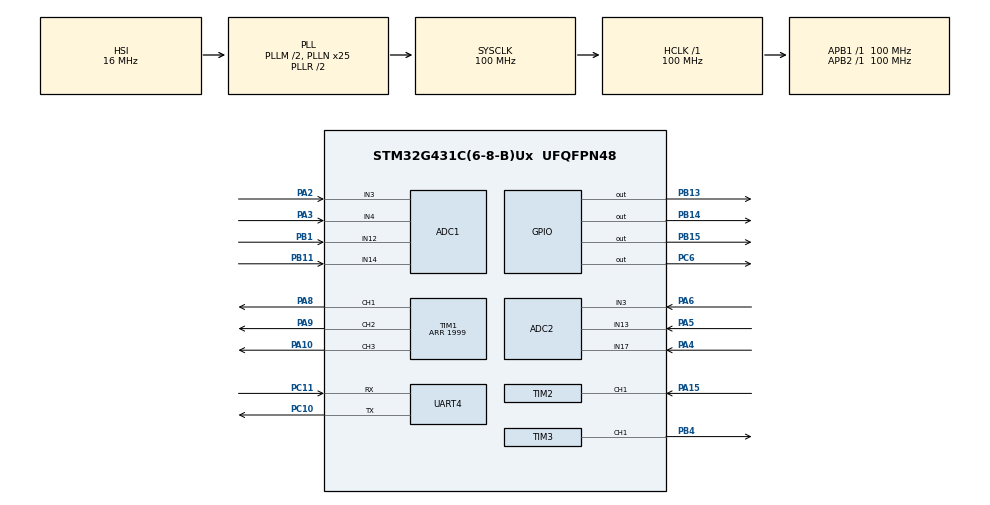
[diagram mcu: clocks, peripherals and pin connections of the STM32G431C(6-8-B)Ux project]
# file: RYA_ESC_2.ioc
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ADC1.Channel-0\#ChannelRegularConversion=ADC_CHANNEL_12
ADC1.Channel-1\#ChannelRegularConversion=ADC_CHANNEL_14
ADC1.Channel-2\#ChannelRegularConversion=ADC_CHANNEL_3
ADC1.Channel-3\#ChannelRegularConversion=ADC_CHANNEL_4
ADC1.ContinuousConvMode=ENABLE
ADC1.DMAContinuousRequests=ENABLE
ADC1.EOCSelection=ADC_EOC_SEQ_CONV
ADC1.NbrOfConversion=4
ADC1.NbrOfConversionFlag=1
ADC1.OffsetNumber-0\#ChannelRegularConversion=ADC_OFFSET_NONE
ADC1.OffsetNumber-1\#ChannelRegularConversion=ADC_OFFSET_NONE
ADC1.OffsetNumber-2\#ChannelRegularConversion=ADC_OFFSET_NONE
ADC1.OffsetNumber-3\#ChannelRegularConversion=ADC_OFFSET_NONE
ADC1.Rank-0\#ChannelRegularConversion=1
ADC1.Rank-1\#ChannelRegularConversion=2
ADC1.Rank-2\#ChannelRegularConversion=3
ADC1.Rank-3\#ChannelRegularConversion=4
ADC1.SamplingTime-0\#ChannelRegularConversion=ADC_SAMPLETIME_47CYCLES_5
ADC1.SamplingTime-1\#ChannelRegularConversion=ADC_SAMPLETIME_47CYCLES_5
ADC1.SamplingTime-2\#ChannelRegularConversion=ADC_SAMPLETIME_47CYCLES_5
ADC1.SamplingTime-3\#ChannelRegularConversion=ADC_SAMPLETIME_47CYCLES_5
ADC1.master=1
ADC2.ContinuousConvMode=ENABLE
ADC2.EOCSelection=ADC_EOC_SEQ_CONV
ADC2.EnableInjectedConversion=ENABLE
ADC2.EnableRegularConversion=DISABLE
ADC2.ExternalTrigInjecConv=ADC_EXTERNALTRIGINJEC_T8_TRGO
ADC2.InjNumberOfConversion=3
ADC2.InjectedChannel-1\#ChannelInjectedConversion=ADC_CHANNEL_3
ADC2.InjectedChannel-2\#ChannelInjectedConversion=ADC_CHANNEL_13
ADC2.InjectedChannel-3\#ChannelInjectedConversion=ADC_CHANNEL_17
ADC2.InjectedConvMode=Discontinuous
ADC2.InjectedOffsetNumber-1\#ChannelInjectedConversion=ADC_OFFSET_NONE
ADC2.InjectedOffsetNumber-2\#ChannelInjectedConversion=ADC_OFFSET_NONE
ADC2.InjectedOffsetNumber-3\#ChannelInjectedConversion=ADC_OFFSET_NONE
ADC2.InjectedRank-1\#ChannelInjectedConversion=1
ADC2.InjectedRank-2\#ChannelInjectedConversion=2
ADC2.InjectedRank-3\#ChannelInjectedConversion=3
ADC2.InjectedSamplingTime-1\#ChannelInjectedConversion=ADC_SAMPLETIME_2CYCLES_5
ADC2.InjectedSamplingTime-2\#ChannelInjectedConversion=ADC_SAMPLETIME_2CYCLES_5
ADC2.InjectedSamplingTime-3\#ChannelInjectedConversion=ADC_SAMPLETIME_2CYCLES_5
ADC2.Rank1_Channel=ADC_CHANNEL_3
ADC2.Rank2_Channel=ADC_CHANNEL_13
ADC2.Rank3_Channel=ADC_CHANNEL_17
Dma.ADC1.0.Direction=DMA_PERIPH_TO_MEMORY
Dma.ADC1.0.EventEnable=DISABLE
Dma.ADC1.0.Instance=DMA1_Channel1
Dma.ADC1.0.MemDataAlignment=DMA_MDATAALIGN_HALFWORD
Dma.ADC1.0.MemInc=DMA_MINC_ENABLE
Dma.ADC1.0.Mode=DMA_CIRCULAR
Dma.ADC1.0.PeriphDataAlignment=DMA_PDATAALIGN_HALFWORD
Dma.ADC1.0.PeriphInc=DMA_PINC_DISABLE
Dma.ADC1.0.Polarity=HAL_DMAMUX_REQ_GEN_RISING
Dma.ADC1.0.Priority=DMA_PRIORITY_HIGH
Dma.ADC1.0.RequestNumber=1
Dma.ADC1.0.SignalID=NONE
Dma.ADC1.0.SyncEnable=DISABLE
Dma.ADC1.0.SyncPolarity=HAL_DMAMUX_SYNC_NO_EVENT
Dma.ADC1.0.SyncRequestNumber=1
Dma.ADC1.0.SyncSignalID=NONE
Dma.Request0=ADC1
Mcu.Family=STM32G4
Mcu.Name=STM32G431C(6-8-B)Ux
Mcu.Package=UFQFPN48
NVIC.ADC1_2_IRQn=true\:0\:0\:false\:false\:true\:true\:true\:true
NVIC.DMA1_Channel1_IRQn=true\:0\:0\:false\:false\:true\:false\:true\:true
NVIC.PriorityGroup=NVIC_PRIORITYGROUP_4
NVIC.TIM2_IRQn=true\:0\:0\:false\:false\:true\:true\:true\:true
NVIC.TIM7_IRQn=true\:0\:0\:false\:false\:true\:true\:true\:true
NVIC.UART4_IRQn=true\:0\:0\:false\:false\:true\:true\:true\:true
PA10.Signal=S_TIM1_CH3
PA13.Mode=Trace_Asynchronous_SW
PA13.Signal=SYS_JTMS-SWDIO
PA14.Mode=Trace_Asynchronous_SW
PA14.Signal=SYS_JTCK-SWCLK
PA15.Signal=S_TIM2_CH1
PA2.Mode=IN3-Single-Ended
PA2.Signal=ADC1_IN3
PA3.Mode=IN4-Single-Ended
PA3.Signal=ADC1_IN4
PA4.Mode=IN17-Single-Ended
PA4.Signal=ADC2_IN17
PA5.Mode=IN13-Single-Ended
PA5.Signal=ADC2_IN13
PA6.Mode=IN3-Single-Ended
PA6.Signal=ADC2_IN3
PA8.Signal=S_TIM1_CH1
PA9.Signal=S_TIM1_CH2
PB1.Mode=IN12-Single-Ended
PB1.Signal=ADC1_IN12
PB11.Mode=IN14-Single-Ended
PB11.Signal=ADC1_IN14
PB13.Signal=GPIO_Output
PB14.Signal=GPIO_Output
PB15.Signal=GPIO_Output
PB3.Mode=Trace_Asynchronous_SW
PB3.Signal=SYS_JTDO-SWO
PB4.Signal=S_TIM3_CH1
PC10.Mode=Asynchronous
PC10.Signal=UART4_TX
PC11.Mode=Asynchronous
PC11.Signal=UART4_RX
PC6.Signal=GPIO_Output
PF0-OSC_IN.Mode=HSE-External-Oscillator
PF0-OSC_IN.Signal=RCC_OSC_IN
PF1-OSC_OUT.Mode=HSE-External-Oscillator
PF1-OSC_OUT.Signal=RCC_OSC_OUT
ProjectManager.HeapSize=0x200
ProjectManager.StackSize=0x400
ProjectManager.TargetToolchain=STM32CubeIDE
RCC.ADC12Freq_Value=100000000
RCC.AHBFreq_Value=100000000
RCC.APB1Freq_Value=100000000
RCC.APB1TimFreq_Value=100000000
RCC.APB2Freq_Value=100000000
RCC.APB2TimFreq_Value=100000000
RCC.CortexFreq_Value=100000000
RCC.EXTERNAL_CLOCK_VALUE=12288000
RCC.HCLKFreq_Value=100000000
RCC.HSE_VALUE=8000000
RCC.HSI48_VALUE=48000000
RCC.HSI_VALUE=16000000
RCC.LSE_VALUE=32768
RCC.PLLM=RCC_PLLM_DIV2
RCC.PLLN=25
RCC.SYSCLKFreq_VALUE=100000000
RCC.SYSCLKSource=RCC_SYSCLKSOURCE_PLLCLK
RCC.USBFreq_Value=100000000
RCC.VCOOutputFreq_Value=200000000
SH.S_TIM1_CH1.0=TIM1_CH1,PWM Generation1 CH1
SH.S_TIM1_CH2.0=TIM1_CH2,PWM Generation2 CH2
SH.S_TIM1_CH3.0=TIM1_CH3,PWM Generation3 CH3
SH.S_TIM2_CH1.0=TIM2_CH1,Input_Capture1_from_TI1
SH.S_TIM3_CH1.0=TIM3_CH1,PWM Generation1 CH1
TIM1.AutoReloadPreload=TIM_AUTORELOAD_PRELOAD_ENABLE
TIM1.Channel-PWM\ Generation1\ CH1=TIM_CHANNEL_1
TIM1.Channel-PWM\ Generation2\ CH2=TIM_CHANNEL_2
TIM1.Channel-PWM\ Generation3\ CH3=TIM_CHANNEL_3
TIM1.CounterMode=TIM_COUNTERMODE_CENTERALIGNED2
TIM1.PeriodNoDither=1999
TIM1.TIM_MasterOutputTrigger=TIM_TRGO_UPDATE
TIM1.TIM_MasterSlaveMode=TIM_MASTERSLAVEMODE_ENABLE
TIM2.Channel-Input_Capture1_from_TI1=TIM_CHANNEL_1
TIM2.ICPolarity_CH1=TIM_INPUTCHANNELPOLARITY_BOTHEDGE
TIM2.Prescaler=89
TIM3.AutoReloadPreload=TIM_AUTORELOAD_PRELOAD_ENABLE
TIM3.Channel-PWM\ Generation1\ CH1=TIM_CHANNEL_1
TIM3.PeriodNoDither=999
TIM3.Prescaler=99
TIM7.AutoReloadPreload=TIM_AUTORELOAD_PRELOAD_DISABLE
TIM7.PeriodNoDither=999
TIM7.Prescaler=99
TIM8.AutoReloadPreload=TIM_AUTORELOAD_PRELOAD_ENABLE
TIM8.CounterMode=TIM_COUNTERMODE_CENTERALIGNED2
TIM8.PeriodNoDither=1999
TIM8.TIM_MasterOutputTrigger=TIM_TRGO_UPDATE
TIM8.TIM_MasterSlaveMode=TIM_MASTERSLAVEMODE_ENABLE
VP_SYS_VS_DBSignals.Mode=DisableDeadBatterySignals
VP_TIM1_VS_ClockSourceINT.Mode=Internal
VP_TIM2_VS_ClockSourceINT.Mode=Internal
VP_TIM3_VS_ClockSourceINT.Mode=Internal
VP_TIM7_VS_ClockSourceINT.Mode=Enable_Timer
VP_TIM8_VS_ClockSourceINT.Mode=Internal
VP_TIM8_VS_ClockSourceITR.Mode=TriggerSource_ITR0
VP_TIM8_VS_ControllerModeTrigger.Mode=Trigger Mode
board=custom

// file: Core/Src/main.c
/* USER CODE BEGIN Header */
/**
  ******************************************************************************
  * @file           : main.c
  * @brief          : Main program body
  ******************************************************************************
  * @attention
  *
  * Copyright (c) 2025 STMicroelectronics.
  * All rights reserved.
  *
  * This software is licensed under terms that can be found in the LICENSE file
  * in the root directory of this software component.
  * If no LICENSE file comes with this software, it is provided AS-IS.
  *
  ******************************************************************************
  */
/* USER CODE END Header */
#include "main.h"

/* USER CODE BEGIN Includes */
#include<stdio.h>
/* USER CODE END Includes */

/* USER CODE BEGIN PD */
#define SEND_INTERVAL_MS  500

#define TIMCLOCK   90000000
#define PRESCALAR  90

#define PI 3.1415926535f
/* USER CODE END PD */

ADC_HandleTypeDef hadc1;
ADC_HandleTypeDef hadc2;
DMA_HandleTypeDef hdma_adc1;

TIM_HandleTypeDef htim1;
TIM_HandleTypeDef htim2;
TIM_HandleTypeDef htim3;
TIM_HandleTypeDef htim7;
TIM_HandleTypeDef htim8;

UART_HandleTypeDef huart4;

/* USER CODE BEGIN PV */

uint32_t IC_Val1 = 0;
uint32_t IC_Val2 = 0;
uint32_t Difference = 0;
int Is_First_Captured = 0;
/* Measure Frequency */
float frequency = 0;
/* Measure Width */
uint32_t usWidth = 0;

uint16_t ADC1_BEMF_Buffer[4];

volatile uint16_t Iu = 0;
volatile uint16_t Iv = 0;
volatile uint16_t Iw = 0;

long long last_ramp_time ;
uint16_t ramp_duty ;

volatile uint8_t uart_tx_IT_busy = 0;   /* 1 = DMA transfer in progress */
uint8_t uart_tx_buffer[64] ;
volatile uint8_t uart_tx_busy = 0;
static uint16_t send_counter = 0;
volatile uint32_t timer_tick = 0;        // Đếm ms
volatile uint8_t send_flag = 0;          // Cờ gửi dữ liệu
int Current_Val = 123;                   // Giá trị mẫu (cập nhật từ ADC sau)
int Volt_Val = 456;

// Additional variables for safe BLDC startup and sinusoidal drive
volatile float theta = 0.0f;             // Electrical angle
volatile float angular_speed = 0.0001f;  // Initial slow angular speed (rad/ms) for safe start
volatile uint16_t amplitude = 0;         // PWM amplitude (0 to 999 for ARR=1999)
volatile uint32_t startup_timer = 0;     // Timer for ramping
volatile uint8_t startup_phase = 0;      // 0: alignment, 1: ramp-up

/* USER CODE END PV */

void SystemClock_Config(void);
static void MX_GPIO_Init(void);
static void MX_DMA_Init(void);
static void MX_ADC1_Init(void);
static void MX_ADC2_Init(void);
static void MX_TIM1_Init(void);
static void MX_TIM8_Init(void);
static void MX_TIM7_Init(void);
static void MX_UART4_Init(void);
static void MX_TIM2_Init(void);
static void MX_TIM3_Init(void);

/* USER CODE BEGIN 0 */
void HAL_ADCEx_InjectedConvCpltCallback(ADC_HandleTypeDef* hadc);
void UART4_Prepare_Message(void);
//void HAL_UART_TxCpltCallback(UART_HandleTypeDef *huart);
void HAL_TIM_PeriodElapsedCallback(TIM_HandleTypeDef *htim);
void HAL_TIM_IC_CaptureCallback(TIM_HandleTypeDef *htim);
/* USER CODE END 0 */

int main(void)
{

  /* MCU Configuration--------------------------------------------------------*/

  /* Reset of all peripherals, Initializes the Flash interface and the Systick. */
  HAL_Init();

  /* Configure the system clock */
  SystemClock_Config();

  /* Initialize all configured peripherals */
  MX_GPIO_Init();
  MX_DMA_Init();
  MX_ADC1_Init();
  MX_ADC2_Init();
  MX_TIM1_Init();
  MX_TIM8_Init();
  MX_TIM7_Init();
  MX_UART4_Init();
  MX_TIM2_Init();
  MX_TIM3_Init();
  /* USER CODE BEGIN 2 */

  // Bật Main Output (MOE) - QUAN TRỌNG NHẤT để CH1N hoạt động
//  __HAL_TIM_MOE_ENABLE(&htim1);

  // Khởi động PWM CH1 và CH1N cùng lúc
  HAL_TIM_PWM_Init(&htim1);

  HAL_TIM_PWM_Start(&htim1, TIM_CHANNEL_1);        // CH1
//  HAL_TIMEx_PWMN_Start(&htim1, TIM_CHANNEL_1);     // CH1N bổ sung

  HAL_TIM_PWM_Start(&htim1, TIM_CHANNEL_2);        // CH2
//  HAL_TIMEx_PWMN_Start(&htim1, TIM_CHANNEL_2);     // CH2N bổ sung

  HAL_TIM_PWM_Start(&htim1, TIM_CHANNEL_3);        // CH3
//  HAL_TIMEx_PWMN_Start(&htim1, TIM_CHANNEL_3);     // CH3N bổ sung

  HAL_TIM_IC_Start_IT(&htim2, TIM_CHANNEL_1);

  HAL_TIM_Base_Start_IT(&htim7);

  HAL_TIM_PWM_Init(&htim8);

  HAL_TIM_PWM_Init(&htim3);
  HAL_TIM_PWM_Start(&htim3, TIM_CHANNEL_1);

  HAL_TIM_Base_Start(&htim8);

  ADC1->CR &= ~ADC_CR_DEEPPWD;      // Thoát deep power down (nếu đang ở chế độ này)
  ADC1->CR |= ADC_CR_ADVREGEN;     // Bật internal voltage regulator
  ADC2->CR &= ~ADC_CR_DEEPPWD;
  ADC2->CR |= ADC_CR_ADVREGEN;

  HAL_Delay(1);
//  __HAL_RCC_ADC12_FORCE_RESET();      // một số người thêm cái này cho chắc
//  __HAL_RCC_ADC12_RELEASE_RESET();
  HAL_Delay(1);
  HAL_ADCEx_Calibration_Start(&hadc1, ADC_SINGLE_ENDED);
  HAL_ADCEx_Calibration_Start(&hadc2, ADC_SINGLE_ENDED);
  HAL_Delay(1);
  // Bật ADC1 regular continuous + DMA circular
  if (HAL_ADC_Start_DMA(&hadc1, (uint32_t*)ADC1_BEMF_Buffer, 4) != HAL_OK)
  {
      // Xử lý lỗi ở đây thay vì Error_Handler ngay
      Error_Handler();
  }

  // Bật ADC2 injected + DMA circular (trigger tự động từ TIM8)
  HAL_ADCEx_InjectedStart_IT(&hadc2);        // ← Khởi động injected + interrupt

  HAL_GPIO_WritePin(GPIOB, GPIO_PIN_13, SET);
  HAL_GPIO_WritePin(GPIOB, GPIO_PIN_14, SET);
  HAL_GPIO_WritePin(GPIOB, GPIO_PIN_15, SET);

  /* USER CODE END 2 */

  /* Infinite loop */
  while (1)
  {

    /* USER CODE BEGIN 3 */
	  // Đọc BEMF 4 kênh (cập nhật liên tục bởi DMA)
	      uint16_t Bemf_U = ADC1_BEMF_Buffer[0];
	      uint16_t Bemf_V = ADC1_BEMF_Buffer[1];
	      uint16_t Bemf_W = ADC1_BEMF_Buffer[2];
	      uint16_t Bemf_Neutral_or_Dummy = ADC1_BEMF_Buffer[3];  // nếu có

	      // Đọc dòng 3 pha (cập nhật đúng giữa PWM nhờ TIM8 sync)
	      uint16_t current_Iu = Iu;
		  uint16_t current_Iv = Iv;
		  uint16_t current_Iw = Iw;

	      if (HAL_GetTick() - last_ramp_time >= 500)
	          {
	              last_ramp_time = HAL_GetTick();

//	                  if (ramp_duty <= 1999)
//	                      ramp_duty += 100;
//
//	                  else
//	                  {
//	                      ramp_duty = 0;
//
//	                  }

	              ramp_duty = 500;

	              TIM1->CCR1 = ramp_duty;
	              TIM1->CCR2 = 0;
	              TIM1->CCR3 = ramp_duty;

	              TIM3->CCR1 = ramp_duty;

	              HAL_GPIO_TogglePin(GPIOC, GPIO_PIN_6);

	          }

//          int len = snprintf((char*)uart_tx_buffer, sizeof(uart_tx_buffer), "%d,%d\n", Current_Val, Volt_Val);
//          HAL_UART_Transmit_IT(&huart4, uart_tx_buffer, len);

  }
  /* USER CODE END 3 */
}

void SystemClock_Config(void)
{
  RCC_OscInitTypeDef RCC_OscInitStruct = {0};
  RCC_ClkInitTypeDef RCC_ClkInitStruct = {0};

  /** Configure the main internal regulator output voltage
  */
  HAL_PWREx_ControlVoltageScaling(PWR_REGULATOR_VOLTAGE_SCALE1);

  /** Initializes the RCC Oscillators according to the specified parameters
  * in the RCC_OscInitTypeDef structure.
  */
  RCC_OscInitStruct.OscillatorType = RCC_OSCILLATORTYPE_HSI;
  RCC_OscInitStruct.HSIState = RCC_HSI_ON;
  RCC_OscInitStruct.HSICalibrationValue = RCC_HSICALIBRATION_DEFAULT;
  RCC_OscInitStruct.PLL.PLLState = RCC_PLL_ON;
  RCC_OscInitStruct.PLL.PLLSource = RCC_PLLSOURCE_HSI;
  RCC_OscInitStruct.PLL.PLLM = RCC_PLLM_DIV2;
  RCC_OscInitStruct.PLL.PLLN = 25;
  RCC_OscInitStruct.PLL.PLLP = RCC_PLLP_DIV2;
  RCC_OscInitStruct.PLL.PLLQ = RCC_PLLQ_DIV2;
  RCC_OscInitStruct.PLL.PLLR = RCC_PLLR_DIV2;
  if (HAL_RCC_OscConfig(&RCC_OscInitStruct) != HAL_OK)
  {
    Error_Handler();
  }

  /** Initializes the CPU, AHB and APB buses clocks
  */
  RCC_ClkInitStruct.ClockType = RCC_CLOCKTYPE_HCLK|RCC_CLOCKTYPE_SYSCLK
                              |RCC_CLOCKTYPE_PCLK1|RCC_CLOCKTYPE_PCLK2;
  RCC_ClkInitStruct.SYSCLKSource = RCC_SYSCLKSOURCE_PLLCLK;
  RCC_ClkInitStruct.AHBCLKDivider = RCC_SYSCLK_DIV1;
  RCC_ClkInitStruct.APB1CLKDivider = RCC_HCLK_DIV1;
  RCC_ClkInitStruct.APB2CLKDivider = RCC_HCLK_DIV1;

  if (HAL_RCC_ClockConfig(&RCC_ClkInitStruct, FLASH_LATENCY_3) != HAL_OK)
  {
    Error_Handler();
  }
}

static void MX_ADC1_Init(void)
{

  ADC_MultiModeTypeDef multimode = {0};
  ADC_ChannelConfTypeDef sConfig = {0};

  /** Common config
  */
  hadc1.Instance = ADC1;
  hadc1.Init.ClockPrescaler = ADC_CLOCK_SYNC_PCLK_DIV2;
  hadc1.Init.Resolution = ADC_RESOLUTION_12B;
  hadc1.Init.DataAlign = ADC_DATAALIGN_RIGHT;
  hadc1.Init.GainCompensation = 0;
  hadc1.Init.ScanConvMode = ADC_SCAN_ENABLE;
  hadc1.Init.EOCSelection = ADC_EOC_SEQ_CONV;
  hadc1.Init.LowPowerAutoWait = DISABLE;
  hadc1.Init.ContinuousConvMode = ENABLE;
  hadc1.Init.NbrOfConversion = 4;
  hadc1.Init.DiscontinuousConvMode = DISABLE;
  hadc1.Init.ExternalTrigConv = ADC_SOFTWARE_START;
  hadc1.Init.ExternalTrigConvEdge = ADC_EXTERNALTRIGCONVEDGE_NONE;
  hadc1.Init.DMAContinuousRequests = ENABLE;
  hadc1.Init.Overrun = ADC_OVR_DATA_PRESERVED;
  hadc1.Init.OversamplingMode = DISABLE;
  if (HAL_ADC_Init(&hadc1) != HAL_OK)
  {
    Error_Handler();
  }

  /** Configure the ADC multi-mode
  */
  multimode.Mode = ADC_MODE_INDEPENDENT;
  if (HAL_ADCEx_MultiModeConfigChannel(&hadc1, &multimode) != HAL_OK)
  {
    Error_Handler();
  }

  /** Configure Regular Channel
  */
  sConfig.Channel = ADC_CHANNEL_12;
  sConfig.Rank = ADC_REGULAR_RANK_1;
  sConfig.SamplingTime = ADC_SAMPLETIME_47CYCLES_5;
  sConfig.SingleDiff = ADC_SINGLE_ENDED;
  sConfig.OffsetNumber = ADC_OFFSET_NONE;
  sConfig.Offset = 0;
  if (HAL_ADC_ConfigChannel(&hadc1, &sConfig) != HAL_OK)
  {
    Error_Handler();
  }

  /** Configure Regular Channel
  */
  sConfig.Channel = ADC_CHANNEL_14;
  sConfig.Rank = ADC_REGULAR_RANK_2;
  if (HAL_ADC_ConfigChannel(&hadc1, &sConfig) != HAL_OK)
  {
    Error_Handler();
  }

  /** Configure Regular Channel
  */
  sConfig.Channel = ADC_CHANNEL_3;
  sConfig.Rank = ADC_REGULAR_RANK_3;
  if (HAL_ADC_ConfigChannel(&hadc1, &sConfig) != HAL_OK)
  {
    Error_Handler();
  }

  /** Configure Regular Channel
  */
  sConfig.Channel = ADC_CHANNEL_4;
  sConfig.Rank = ADC_REGULAR_RANK_4;
  if (HAL_ADC_ConfigChannel(&hadc1, &sConfig) != HAL_OK)
  {
    Error_Handler();
  }

}

static void MX_ADC2_Init(void)
{

  ADC_InjectionConfTypeDef sConfigInjected = {0};

  /** Common config
  */
  hadc2.Instance = ADC2;
  hadc2.Init.ClockPrescaler = ADC_CLOCK_SYNC_PCLK_DIV2;
  hadc2.Init.Resolution = ADC_RESOLUTION_12B;
  hadc2.Init.DataAlign = ADC_DATAALIGN_RIGHT;
  hadc2.Init.GainCompensation = 0;
  hadc2.Init.ScanConvMode = ADC_SCAN_ENABLE;
  hadc2.Init.EOCSelection = ADC_EOC_SEQ_CONV;
  hadc2.Init.LowPowerAutoWait = DISABLE;
  hadc2.Init.ContinuousConvMode = ENABLE;
  hadc2.Init.NbrOfConversion = 1;
  hadc2.Init.DiscontinuousConvMode = DISABLE;
  hadc2.Init.DMAContinuousRequests = DISABLE;
  hadc2.Init.Overrun = ADC_OVR_DATA_PRESERVED;
  hadc2.Init.OversamplingMode = DISABLE;
  if (HAL_ADC_Init(&hadc2) != HAL_OK)
  {
    Error_Handler();
  }

  /** Configure Injected Channel
  */
  sConfigInjected.InjectedChannel = ADC_CHANNEL_3;
  sConfigInjected.InjectedRank = ADC_INJECTED_RANK_1;
  sConfigInjected.InjectedSamplingTime = ADC_SAMPLETIME_2CYCLES_5;
  sConfigInjected.InjectedSingleDiff = ADC_SINGLE_ENDED;
  sConfigInjected.InjectedOffsetNumber = ADC_OFFSET_NONE;
  sConfigInjected.InjectedOffset = 0;
  sConfigInjected.InjectedNbrOfConversion = 3;
  sConfigInjected.InjectedDiscontinuousConvMode = ENABLE;
  sConfigInjected.AutoInjectedConv = DISABLE;
  sConfigInjected.QueueInjectedContext = DISABLE;
  sConfigInjected.ExternalTrigInjecConv = ADC_EXTERNALTRIGINJEC_T8_TRGO;
  sConfigInjected.ExternalTrigInjecConvEdge = ADC_EXTERNALTRIGINJECCONV_EDGE_RISING;
  sConfigInjected.InjecOversamplingMode = DISABLE;
  if (HAL_ADCEx_InjectedConfigChannel(&hadc2, &sConfigInjected) != HAL_OK)
  {
    Error_Handler();
  }

  /** Configure Injected Channel
  */
  sConfigInjected.InjectedChannel = ADC_CHANNEL_13;
  sConfigInjected.InjectedRank = ADC_INJECTED_RANK_2;
  if (HAL_ADCEx_InjectedConfigChannel(&hadc2, &sConfigInjected) != HAL_OK)
  {
    Error_Handler();
  }

  /** Configure Injected Channel
  */
  sConfigInjected.InjectedChannel = ADC_CHANNEL_17;
  sConfigInjected.InjectedRank = ADC_INJECTED_RANK_3;
  if (HAL_ADCEx_InjectedConfigChannel(&hadc2, &sConfigInjected) != HAL_OK)
  {
    Error_Handler();
  }

}

static void MX_TIM1_Init(void)
{

  TIM_ClockConfigTypeDef sClockSourceConfig = {0};
  TIM_MasterConfigTypeDef sMasterConfig = {0};
  TIM_OC_InitTypeDef sConfigOC = {0};
  TIM_BreakDeadTimeConfigTypeDef sBreakDeadTimeConfig = {0};

  htim1.Instance = TIM1;
  htim1.Init.Prescaler = 0;
  htim1.Init.CounterMode = TIM_COUNTERMODE_CENTERALIGNED2;
  htim1.Init.Period = 1999;
  htim1.Init.ClockDivision = TIM_CLOCKDIVISION_DIV1;
  htim1.Init.RepetitionCounter = 0;
  htim1.Init.AutoReloadPreload = TIM_AUTORELOAD_PRELOAD_ENABLE;
  if (HAL_TIM_Base_Init(&htim1) != HAL_OK)
  {
    Error_Handler();
  }
  sClockSourceConfig.ClockSource = TIM_CLOCKSOURCE_INTERNAL;
  if (HAL_TIM_ConfigClockSource(&htim1, &sClockSourceConfig) != HAL_OK)
  {
    Error_Handler();
  }
  if (HAL_TIM_PWM_Init(&htim1) != HAL_OK)
  {
    Error_Handler();
  }
  sMasterConfig.MasterOutputTrigger = TIM_TRGO_UPDATE;
  sMasterConfig.MasterOutputTrigger2 = TIM_TRGO2_RESET;
  sMasterConfig.MasterSlaveMode = TIM_MASTERSLAVEMODE_ENABLE;
  if (HAL_TIMEx_MasterConfigSynchronization(&htim1, &sMasterConfig) != HAL_OK)
  {
    Error_Handler();
  }
  sConfigOC.OCMode = TIM_OCMODE_PWM1;
  sConfigOC.Pulse = 0;
  sConfigOC.OCPolarity = TIM_OCPOLARITY_HIGH;
  sConfigOC.OCNPolarity = TIM_OCNPOLARITY_HIGH;
  sConfigOC.OCFastMode = TIM_OCFAST_DISABLE;
  sConfigOC.OCIdleState = TIM_OCIDLESTATE_RESET;
  sConfigOC.OCNIdleState = TIM_OCNIDLESTATE_RESET;
  if (HAL_TIM_PWM_ConfigChannel(&htim1, &sConfigOC, TIM_CHANNEL_1) != HAL_OK)
  {
    Error_Handler();
  }
  if (HAL_TIM_PWM_ConfigChannel(&htim1, &sConfigOC, TIM_CHANNEL_2) != HAL_OK)
  {
    Error_Handler();
  }
  if (HAL_TIM_PWM_ConfigChannel(&htim1, &sConfigOC, TIM_CHANNEL_3) != HAL_OK)
  {
    Error_Handler();
  }
  sBreakDeadTimeConfig.OffStateRunMode = TIM_OSSR_DISABLE;
  sBreakDeadTimeConfig.OffStateIDLEMode = TIM_OSSI_DISABLE;
  sBreakDeadTimeConfig.LockLevel = TIM_LOCKLEVEL_OFF;
  sBreakDeadTimeConfig.DeadTime = 0;
  sBreakDeadTimeConfig.BreakState = TIM_BREAK_DISABLE;
  sBreakDeadTimeConfig.BreakPolarity = TIM_BREAKPOLARITY_HIGH;
  sBreakDeadTimeConfig.BreakFilter = 0;
  sBreakDeadTimeConfig.BreakAFMode = TIM_BREAK_AFMODE_INPUT;
  sBreakDeadTimeConfig.Break2State = TIM_BREAK2_DISABLE;
  sBreakDeadTimeConfig.Break2Polarity = TIM_BREAK2POLARITY_HIGH;
  sBreakDeadTimeConfig.Break2Filter = 0;
  sBreakDeadTimeConfig.Break2AFMode = TIM_BREAK_AFMODE_INPUT;
  sBreakDeadTimeConfig.AutomaticOutput = TIM_AUTOMATICOUTPUT_DISABLE;
  if (HAL_TIMEx_ConfigBreakDeadTime(&htim1, &sBreakDeadTimeConfig) != HAL_OK)
  {
    Error_Handler();
  }
  HAL_TIM_MspPostInit(&htim1);

}

static void MX_TIM2_Init(void)
{

  TIM_ClockConfigTypeDef sClockSourceConfig = {0};
  TIM_MasterConfigTypeDef sMasterConfig = {0};
  TIM_IC_InitTypeDef sConfigIC = {0};

  htim2.Instance = TIM2;
  htim2.Init.Prescaler = 89;
  htim2.Init.CounterMode = TIM_COUNTERMODE_UP;
  htim2.Init.Period = 4294967295;
  htim2.Init.ClockDivision = TIM_CLOCKDIVISION_DIV1;
  htim2.Init.AutoReloadPreload = TIM_AUTORELOAD_PRELOAD_DISABLE;
  if (HAL_TIM_Base_Init(&htim2) != HAL_OK)
  {
    Error_Handler();
  }
  sClockSourceConfig.ClockSource = TIM_CLOCKSOURCE_INTERNAL;
  if (HAL_TIM_ConfigClockSource(&htim2, &sClockSourceConfig) != HAL_OK)
  {
    Error_Handler();
  }
  if (HAL_TIM_IC_Init(&htim2) != HAL_OK)
  {
    Error_Handler();
  }
  sMasterConfig.MasterOutputTrigger = TIM_TRGO_RESET;
  sMasterConfig.MasterSlaveMode = TIM_MASTERSLAVEMODE_DISABLE;
  if (HAL_TIMEx_MasterConfigSynchronization(&htim2, &sMasterConfig) != HAL_OK)
  {
    Error_Handler();
  }
  sConfigIC.ICPolarity = TIM_INPUTCHANNELPOLARITY_BOTHEDGE;
  sConfigIC.ICSelection = TIM_ICSELECTION_DIRECTTI;
  sConfigIC.ICPrescaler = TIM_ICPSC_DIV1;
  sConfigIC.ICFilter = 0;
  if (HAL_TIM_IC_ConfigChannel(&htim2, &sConfigIC, TIM_CHANNEL_1) != HAL_OK)
  {
    Error_Handler();
  }

}

static void MX_TIM3_Init(void)
{

  TIM_ClockConfigTypeDef sClockSourceConfig = {0};
  TIM_MasterConfigTypeDef sMasterConfig = {0};
  TIM_OC_InitTypeDef sConfigOC = {0};

  htim3.Instance = TIM3;
  htim3.Init.Prescaler = 99;
  htim3.Init.CounterMode = TIM_COUNTERMODE_UP;
  htim3.Init.Period = 999;
  htim3.Init.ClockDivision = TIM_CLOCKDIVISION_DIV1;
  htim3.Init.AutoReloadPreload = TIM_AUTORELOAD_PRELOAD_ENABLE;
  if (HAL_TIM_Base_Init(&htim3) != HAL_OK)
  {
    Error_Handler();
  }
  sClockSourceConfig.ClockSource = TIM_CLOCKSOURCE_INTERNAL;
  if (HAL_TIM_ConfigClockSource(&htim3, &sClockSourceConfig) != HAL_OK)
  {
    Error_Handler();
  }
  if (HAL_TIM_PWM_Init(&htim3) != HAL_OK)
  {
    Error_Handler();
  }
  sMasterConfig.MasterOutputTrigger = TIM_TRGO_RESET;
  sMasterConfig.MasterSlaveMode = TIM_MASTERSLAVEMODE_DISABLE;
  if (HAL_TIMEx_MasterConfigSynchronization(&htim3, &sMasterConfig) != HAL_OK)
  {
    Error_Handler();
  }
  sConfigOC.OCMode = TIM_OCMODE_PWM1;
  sConfigOC.Pulse = 0;
  sConfigOC.OCPolarity = TIM_OCPOLARITY_HIGH;
  sConfigOC.OCFastMode = TIM_OCFAST_DISABLE;
  if (HAL_TIM_PWM_ConfigChannel(&htim3, &sConfigOC, TIM_CHANNEL_1) != HAL_OK)
  {
    Error_Handler();
  }
  HAL_TIM_MspPostInit(&htim3);

}

static void MX_TIM7_Init(void)
{

  TIM_MasterConfigTypeDef sMasterConfig = {0};

  htim7.Instance = TIM7;
  htim7.Init.Prescaler = 99;
  htim7.Init.CounterMode = TIM_COUNTERMODE_UP;
  htim7.Init.Period = 999;
  htim7.Init.AutoReloadPreload = TIM_AUTORELOAD_PRELOAD_DISABLE;
  if (HAL_TIM_Base_Init(&htim7) != HAL_OK)
  {
    Error_Handler();
  }
  sMasterConfig.MasterOutputTrigger = TIM_TRGO_RESET;
  sMasterConfig.MasterSlaveMode = TIM_MASTERSLAVEMODE_DISABLE;
  if (HAL_TIMEx_MasterConfigSynchronization(&htim7, &sMasterConfig) != HAL_OK)
  {
    Error_Handler();
  }

}

static void MX_TIM8_Init(void)
{

  TIM_ClockConfigTypeDef sClockSourceConfig = {0};
  TIM_SlaveConfigTypeDef sSlaveConfig = {0};
  TIM_MasterConfigTypeDef sMasterConfig = {0};

  htim8.Instance = TIM8;
  htim8.Init.Prescaler = 0;
  htim8.Init.CounterMode = TIM_COUNTERMODE_CENTERALIGNED2;
  htim8.Init.Period = 1999;
  htim8.Init.ClockDivision = TIM_CLOCKDIVISION_DIV1;
  htim8.Init.RepetitionCounter = 0;
  htim8.Init.AutoReloadPreload = TIM_AUTORELOAD_PRELOAD_ENABLE;
  if (HAL_TIM_Base_Init(&htim8) != HAL_OK)
  {
    Error_Handler();
  }
  sClockSourceConfig.ClockSource = TIM_CLOCKSOURCE_INTERNAL;
  if (HAL_TIM_ConfigClockSource(&htim8, &sClockSourceConfig) != HAL_OK)
  {
    Error_Handler();
  }
  sSlaveConfig.SlaveMode = TIM_SLAVEMODE_TRIGGER;
  sSlaveConfig.InputTrigger = TIM_TS_ITR0;
  if (HAL_TIM_SlaveConfigSynchro(&htim8, &sSlaveConfig) != HAL_OK)
  {
    Error_Handler();
  }
  sMasterConfig.MasterOutputTrigger = TIM_TRGO_UPDATE;
  sMasterConfig.MasterOutputTrigger2 = TIM_TRGO2_RESET;
  sMasterConfig.MasterSlaveMode = TIM_MASTERSLAVEMODE_ENABLE;
  if (HAL_TIMEx_MasterConfigSynchronization(&htim8, &sMasterConfig) != HAL_OK)
  {
    Error_Handler();
  }

}

static void MX_UART4_Init(void)
{

  huart4.Instance = UART4;
  huart4.Init.BaudRate = 115200;
  huart4.Init.WordLength = UART_WORDLENGTH_8B;
  huart4.Init.StopBits = UART_STOPBITS_1;
  huart4.Init.Parity = UART_PARITY_NONE;
  huart4.Init.Mode = UART_MODE_TX_RX;
  huart4.Init.HwFlowCtl = UART_HWCONTROL_NONE;
  huart4.Init.OverSampling = UART_OVERSAMPLING_16;
  huart4.Init.OneBitSampling = UART_ONE_BIT_SAMPLE_DISABLE;
  huart4.Init.ClockPrescaler = UART_PRESCALER_DIV1;
  huart4.AdvancedInit.AdvFeatureInit = UART_ADVFEATURE_NO_INIT;
  if (HAL_UART_Init(&huart4) != HAL_OK)
  {
    Error_Handler();
  }
  if (HAL_UARTEx_SetTxFifoThreshold(&huart4, UART_TXFIFO_THRESHOLD_1_8) != HAL_OK)
  {
    Error_Handler();
  }
  if (HAL_UARTEx_SetRxFifoThreshold(&huart4, UART_RXFIFO_THRESHOLD_1_8) != HAL_OK)
  {
    Error_Handler();
  }
  if (HAL_UARTEx_DisableFifoMode(&huart4) != HAL_OK)
  {
    Error_Handler();
  }

}

static void MX_DMA_Init(void)
{

  /* DMA controller clock enable */
  __HAL_RCC_DMAMUX1_CLK_ENABLE();
  __HAL_RCC_DMA1_CLK_ENABLE();

  /* DMA interrupt init */
  /* DMA1_Channel1_IRQn interrupt configuration */
  HAL_NVIC_SetPriority(DMA1_Channel1_IRQn, 0, 0);
  HAL_NVIC_EnableIRQ(DMA1_Channel1_IRQn);

}

static void MX_GPIO_Init(void)
{
  GPIO_InitTypeDef GPIO_InitStruct = {0};

  /* GPIO Ports Clock Enable */
  __HAL_RCC_GPIOF_CLK_ENABLE();
  __HAL_RCC_GPIOA_CLK_ENABLE();
  __HAL_RCC_GPIOB_CLK_ENABLE();
  __HAL_RCC_GPIOC_CLK_ENABLE();

  /*Configure GPIO pin Output Level */
  HAL_GPIO_WritePin(GPIOB, GPIO_PIN_13|GPIO_PIN_14|GPIO_PIN_15, GPIO_PIN_RESET);

  /*Configure GPIO pin Output Level */
  HAL_GPIO_WritePin(GPIOC, GPIO_PIN_6, GPIO_PIN_RESET);

  /*Configure GPIO pins : PB13 PB14 PB15 */
  GPIO_InitStruct.Pin = GPIO_PIN_13|GPIO_PIN_14|GPIO_PIN_15;
  GPIO_InitStruct.Mode = GPIO_MODE_OUTPUT_PP;
  GPIO_InitStruct.Pull = GPIO_NOPULL;
  GPIO_InitStruct.Speed = GPIO_SPEED_FREQ_LOW;
  HAL_GPIO_Init(GPIOB, &GPIO_InitStruct);

  /*Configure GPIO pin : PC6 */
  GPIO_InitStruct.Pin = GPIO_PIN_6;
  GPIO_InitStruct.Mode = GPIO_MODE_OUTPUT_PP;
  GPIO_InitStruct.Pull = GPIO_NOPULL;
  GPIO_InitStruct.Speed = GPIO_SPEED_FREQ_LOW;
  HAL_GPIO_Init(GPIOC, &GPIO_InitStruct);

}

/* USER CODE BEGIN 4 */

void UART4_Prepare_Message(void)
{
    int len = snprintf((char*)uart_tx_buffer, sizeof(uart_tx_buffer), "%d,%d\n", Current_Val, Volt_Val);
    if (len > 0 && !uart_tx_IT_busy)  // Check for snprintf success
    {
        uart_tx_IT_busy = 1;
        if (HAL_UART_Transmit_IT(&huart4, uart_tx_buffer, len) != HAL_OK)
        {
            uart_tx_IT_busy = 0;
            Error_Handler();

        }
    }
}

void HAL_UART_TxCpltCallback(UART_HandleTypeDef *huart)
{
    if (huart->Instance == UART4)
    {
    	uart_tx_IT_busy = 0;          /* ready for next packet */
    }
}

void HAL_TIM_PeriodElapsedCallback(TIM_HandleTypeDef *htim)
{
    if (htim->Instance == TIM7)
    {

        send_counter++;
        if (send_counter >= SEND_INTERVAL_MS)
        {
            send_counter = 0;
            UART4_Prepare_Message();  // Gửi UART4
        }
    }
}

void HAL_ADCEx_InjectedConvCpltCallback(ADC_HandleTypeDef* hadc)
{
    if (hadc->Instance == ADC2)
    {
        // Lấy giá trị 3 kênh injected ngay khi conversion hoàn thành
        Iu = HAL_ADCEx_InjectedGetValue(&hadc2, ADC_INJECTED_RANK_1);  // ADC_CHANNEL_17
        Iv = HAL_ADCEx_InjectedGetValue(&hadc2, ADC_INJECTED_RANK_2);  // ADC_CHANNEL_13
        Iw = HAL_ADCEx_InjectedGetValue(&hadc2, ADC_INJECTED_RANK_3);  // ADC_CHANNEL_3

        // Ở đây bạn có thể đặt luôn thuật toán điều khiển (FOC, six-step…)
        // vì dữ liệu dòng lúc này là mới nhất và đúng giữa PWM
    }
}

void HAL_TIM_IC_CaptureCallback(TIM_HandleTypeDef *htim)
{
	HAL_GPIO_TogglePin(GPIOC, GPIO_PIN_6);
	if (htim->Channel == HAL_TIM_ACTIVE_CHANNEL_1)  // if the interrupt source is channel1
	{
		if (Is_First_Captured==0) // if the first value is not captured
		{
			IC_Val1 = HAL_TIM_ReadCapturedValue(htim, TIM_CHANNEL_1); // read the first value
			Is_First_Captured = 1;  // set the first captured as true
		}

		else   // if the first is already captured
		{
			IC_Val2 = HAL_TIM_ReadCapturedValue(htim, TIM_CHANNEL_1);  // read second value

			if (IC_Val2 > IC_Val1)
			{
				Difference = IC_Val2-IC_Val1;
			}

			else if (IC_Val1 > IC_Val2)
			{
				Difference = (0xffffffff - IC_Val1) + IC_Val2;
			}

			float refClock = TIMCLOCK/(PRESCALAR);
			float mFactor = 1000000/refClock;

			usWidth = Difference*mFactor;

			__HAL_TIM_SET_COUNTER(htim, 0);  // reset the counter
			Is_First_Captured = 0; // set it back to false
		}
	}
}
/* USER CODE END 4 */

void Error_Handler(void)
{
  __disable_irq();
  while (1)
  {
  }
}
